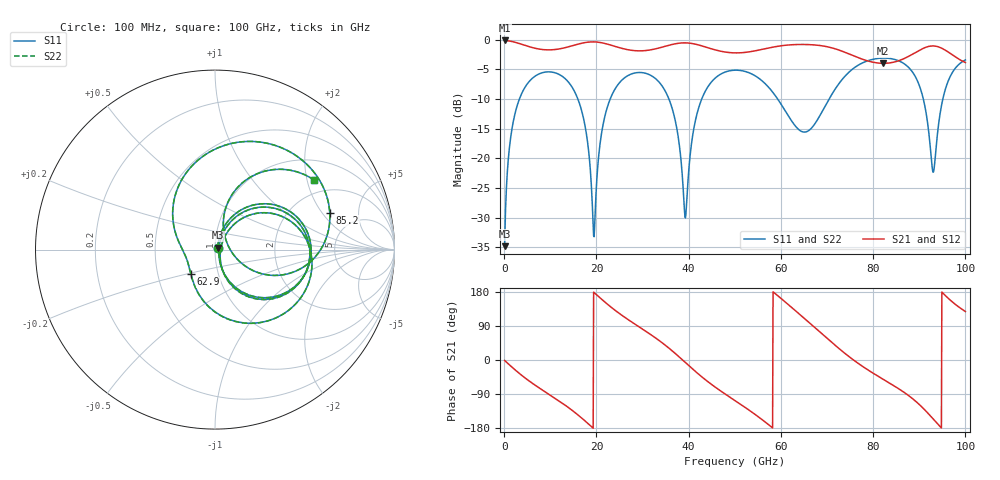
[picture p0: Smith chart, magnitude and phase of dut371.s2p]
! Touchstone file exported from HFSS 2026.1.0
!  File:  C:/ffzhzh/LocalFiles/Ansys_Project_Files/temp_train_TSV_RDL_371_1783713499_44652.aedt
!  Generated:  04:05:55 AM Jul 11, 2026
!  Design:  TSV_RDL
!  Project:  temp_train_TSV_RDL_371_1783713499_44652
! Variables:
!  h_bsmrdl = 3.55um
!  h_ox = 20um
!  h_rdl = 5um
!  h_sub = 65.35um
!  h_tmrdl = 4.35um
!  h_tsv = 65.35um
!  h_via = 3um
!  l_bsmrdl = 304.35um
!  l_sub = 3215.27um
!  l_tmrdl = 445.54um
!  m_sub = 200um
!  pitch = 51.96um
!  r_tsv = 9.38um
!  s_tmrdl = 10um
!  w_bsmrdl = 12.8um
!  w_sub = 500um
!  w_tmrdl = 27.22um
!  x_tsv_center1 = 459.15um
!  x_tsv_center2 = 776.3um
!  x_tsv_center3 = 1249.06um
!  x_tsv_center4 = 1566.21um
!  x_tsv_center5 = 2038.97um
!  x_tsv_center6 = 2356.12um
# GHz S MA R 50.000000
! Terminal data exported
! Port[1] = TM_RDL1_1_T1
! Port[2] = TM_RDL5_1_T1
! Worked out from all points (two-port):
!   1000 points, 100 MHz to 100 GHz, reference 50 ohm
!   highest |S21| = -0.12 dB at 100 MHz (marker M1); lowest = -4.0 dB at 82.2 GHz (marker M2)
!   |S21| within 3 dB of the highest: start of sweep to 77.09 GHz; 86.87 GHz to 98.28 GHz (11.41 GHz wide, 12.3 % of centre)
!   lowest |S11| = -34.8 dB at 100 MHz (marker M3), VSWR 1.04, Z = 51.4 + j1.17 ohm
!   |S11| at or under -10 dB: 15.98 GHz to 22.99 GHz (7.011 GHz wide, 36 % of centre); 35.72 GHz to 42.84 GHz (7.117 GHz wide, 18.1 % of centre); 59.3 GHz to 70.46 GHz (11.16 GHz wide, 17.2 % of centre)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
!   |S22| runs from -34.8 to -3.1 dB; largest |S21 - S12| = 1.3e-13
!   S11 on the Smith chart (normalised r, x): 100 MHz: 1.03, +0.02; 62.9 GHz: 0.74, -0.21; 85.2 GHz: 3.19, +2.39; 100 GHz: 1.56, +2.22
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0.1  0.01813 38.7  0.986 -1.2  0.986 -1.2  0.01813 38.7
! Gamma 0 0 0 0
! Port Impedance 50 0 50 0
1.7  0.1776 65.2  0.966 -18.9  0.966 -18.9  0.1776 65.2
4.8  0.4128 37.2  0.8888 -49.8  0.8888 -49.8  0.4128 37.2
16.8  0.2519 -60.3  0.934 -153.1  0.934 -153.1  0.252 -60.2
19.5  0.0218 7.3  0.9591 178.0  0.9591 178.0  0.02238 6.9
23.5  0.3508 42.4  0.8918 136.4  0.8918 136.4  0.3509 42.3
33.4  0.4474 -35.7  0.8483 53.2  0.8483 53.2  0.4474 -35.9
37  0.2162 -65.2  0.9225 18.3  0.9225 18.3  0.2162 -65.5
39.3  0.03141 -4.1  0.9409 -6.7  0.9409 -6.7  0.03063 -4.3
42.7  0.3063 41.2  0.8912 -42.9  0.8912 -42.9  0.3062 41.2
50.1  0.5535 -18.3  0.7744 -107.6  0.7744 -107.6  0.5535 -18.5
57.7  0.3825 -81.8  0.8575 -174.2  0.8575 -174.2  0.3823 -82.1
62.9  0.1921 -134.1  0.9095 132.7  0.9095 132.7  0.1919 -134.6
66.7  0.1808 -179.3  0.907 92.7  0.907 92.7  0.1806 -179.5
73.4  0.4681 108.3  0.7968 22.2  0.7968 22.2  0.4677 108.5
82.2  0.7001 38.4  0.6324 -51.1  0.6324 -51.1  0.6999 38.5
83.4  0.6965 30.2  0.6362 -59.8  0.6362 -59.8  0.6963 30.3
85.2  0.6718 17.8  0.6585 -73.2  0.6585 -73.2  0.6717 17.9
90.1  0.4021 -20.5  0.8175 -118.5  0.8175 -118.5  0.4021 -20.5
93  0.07619 20.3  0.8863 -155.4  0.8863 -155.4  0.07601 20.4
95.8  0.3985 67.9  0.8091 168.3  0.8091 168.3  0.3984 68.0
100  0.6753 34.9  0.6422 127.9  0.6422 127.9  0.6753 34.9
